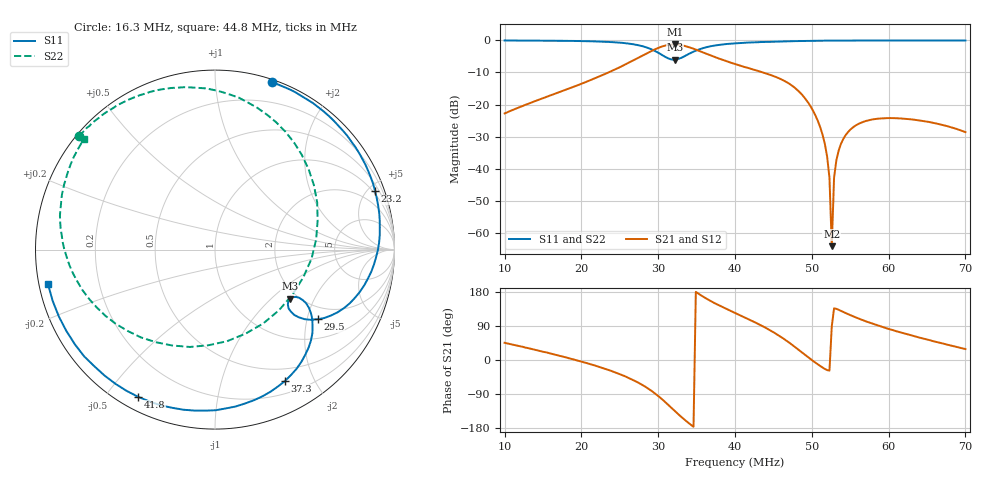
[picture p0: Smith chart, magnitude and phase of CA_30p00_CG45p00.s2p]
#  HZ  S  RI  R  50.00
! Rohde & Schwarz ZVT8 8Ports - Version 4.11 - 1300.0000k08 SN: 100242
! Date: 2026-07-31 14:41:15
! Measurements: S11 S21 S12 S22
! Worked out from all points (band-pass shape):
!   201 points, 10 MHz to 70 MHz, reference 50 ohm
!   highest |S21| = -1.28 dB at 32.2 MHz (marker M1); lowest = -64.2 dB at 52.6 MHz (marker M2)
!   |S21| within 3 dB of the highest: 28.33 MHz to 36.37 MHz (8.034 MHz wide, 24.8 % of centre)
!   lowest |S11| = -6.1 dB at 32.2 MHz (marker M3), VSWR 2.98, Z = 90.4 - j65.8 ohm
!   |S11| at or under -10 dB: nowhere
!   |S22| runs from -6.2 to 0.0 dB; largest |S21 - S12| = 0.0041
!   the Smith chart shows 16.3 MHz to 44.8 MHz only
!   S11 on the Smith chart (normalised r, x): 16.3 MHz: 0.02, +1.40; 23.2 MHz: 0.84, +5.56; 29.5 MHz: 1.57, -2.32; 37.3 MHz: 0.35, -1.61; 41.8 MHz: 0.05, -0.60; 44.8 MHz: 0.03, -0.10
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1e7  -0.4087 0.9089  0.051 0.0517  0.0509 0.0518  -0.9183 0.3869
1.63e7  0.3189 0.9336  0.1381 0.0381  0.1376 0.0383  -0.7583 0.6319
2.02e7  0.7108 0.6648  0.2144 -0.02  0.2136 -0.0199  -0.5813 0.78
2.32e7  0.8924 0.3243  0.2773 -0.1236  0.2766 -0.1236  -0.3621 0.8785
2.95e7  0.5717 -0.3877  0.0366 -0.7176  0.0367 -0.7154  0.5216 0.4478
3.01e7  0.5001 -0.3879  -0.0891 -0.7652  -0.0886 -0.7651  0.5693 0.2639
3.22e7  0.416 -0.2738  -0.6128 -0.6081  -0.6114 -0.6073  0.2678 -0.4122
3.73e7  0.3908 -0.7308  -0.4811 0.2731  -0.4821 0.272  -0.8263 -0.0413
4e7  -0.0553 -0.8974  -0.2405 0.3541  -0.2402 0.3539  -0.856 0.2812
4.18e7  -0.4286 -0.8199  -0.109 0.3517  -0.1098 0.3501  -0.8193 0.4332
4.48e7  -0.9314 -0.19  0.0698 0.2749  0.0701 0.2747  -0.7292 0.6174
4.81e7  -0.3413 0.9115  0.1466 0.0842  0.1465 0.084  -0.6143 0.767
5.02e7  0.6243 0.7611  0.0784 -0.00423  0.0781 -0.00416  -0.5282 0.8417
5.2e7  0.9858 0.0894  0.0137 -0.00687  0.0137 -0.00686  -0.4482 0.8888
5.23e7  0.9907 -0.025  0.00634 -0.00338  0.00635 -0.0034  -0.4359 0.8966
5.26e7  0.9818 -0.1362  1.74e-05 0.000619  2.98e-05 0.00063  -0.4225 0.9031
5.29e7  0.9624 -0.2401  -0.00522 0.005  -0.00523 0.00499  -0.4099 0.9082
5.38e7  0.8484 -0.5135  -0.0155 0.0188  -0.0154 0.0188  -0.3703 0.9247
5.65e7  0.3013 -0.9472  -0.0147 0.0503  -0.0146 0.0503  -0.2571 0.9613
6.01e7  -0.3908 -0.913  0.00897 0.0606  0.00901 0.0605  -0.1093 0.9891
6.49e7  -0.9103 -0.4024  0.0313 0.0442  0.0314 0.0441  0.0842 0.9922
7e7  -0.9583 0.2706  0.0325 0.0179  0.0325 0.0179  0.2869 0.9544
